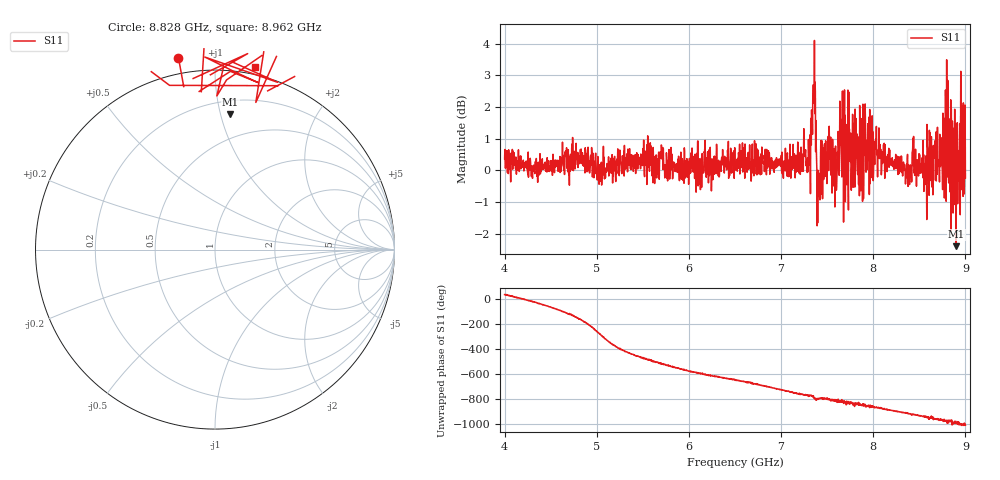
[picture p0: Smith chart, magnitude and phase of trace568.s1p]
! Created with skrf 1.8.0 (http://scikit-rf.org).
# Hz S RI R 50.0
!freq ReS11 ImS11
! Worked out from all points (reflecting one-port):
!   1601 points, 4 GHz to 9 GHz, reference 50 ohm
!   lowest |S11| = -2.4 dB at 8.9 GHz (marker M1), VSWR 7.30, Z = 15.1 + j53.7 ohm
!   phase of S11 starts at 35 deg and turns -1048 deg over the sweep
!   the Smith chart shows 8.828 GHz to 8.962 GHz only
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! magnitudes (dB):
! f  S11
! 4 GHz  0.4
! 4.625 GHz  0.4
! 5.25 GHz  0.6
! 5.572 GHz  0.0
! 5.875 GHz  -0.1
! 6.5 GHz  0.1
! 7.125 GHz  0.2
! 7.294 GHz  0.0
! 7.347 GHz  2.4
! 7.369 GHz  2.8
! 7.4 GHz  0.0
! 7.412 GHz  -0.7
! 7.453 GHz  0.0
! 7.525 GHz  0.7
! 7.591 GHz  0.8
! 7.647 GHz  0.9
! 7.703 GHz  0.6
! 7.75 GHz  0.3
! 7.875 GHz  0.1
! 7.928 GHz  0.9
! 8.375 GHz  0.1
! 8.581 GHz  -1.6
! 8.675 GHz  -0.3
! 8.728 GHz  0.1
! 8.788 GHz  0.5
! 8.9 GHz  -2.4
! 8.972 GHz  0.6
! 9 GHz  -0.2
